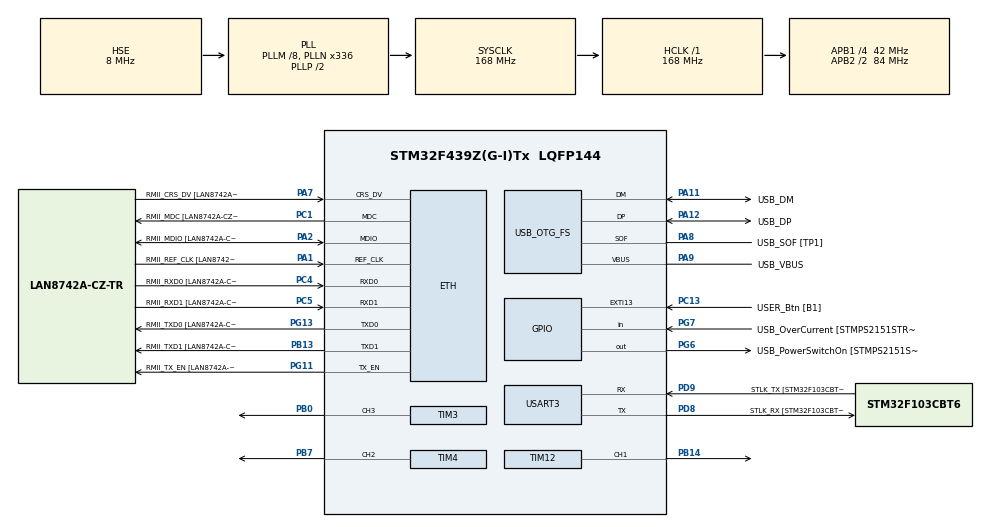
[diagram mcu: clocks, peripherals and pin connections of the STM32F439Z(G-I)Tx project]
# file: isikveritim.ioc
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Dma.Request0=USART3_RX
Dma.USART3_RX.0.Direction=DMA_PERIPH_TO_MEMORY
Dma.USART3_RX.0.FIFOMode=DMA_FIFOMODE_DISABLE
Dma.USART3_RX.0.Instance=DMA1_Stream1
Dma.USART3_RX.0.MemDataAlignment=DMA_MDATAALIGN_BYTE
Dma.USART3_RX.0.MemInc=DMA_MINC_ENABLE
Dma.USART3_RX.0.Mode=DMA_CIRCULAR
Dma.USART3_RX.0.PeriphDataAlignment=DMA_PDATAALIGN_BYTE
Dma.USART3_RX.0.PeriphInc=DMA_PINC_DISABLE
Dma.USART3_RX.0.Priority=DMA_PRIORITY_LOW
ETH.MediaInterface=HAL_ETH_RMII_MODE
ETH.PHY_Name=LAN8742A_PHY_ADDRESS
ETH.PHY_Value=0
ETH.PhyAddress=0
Mcu.Family=STM32F4
Mcu.Name=STM32F439Z(G-I)Tx
Mcu.Package=LQFP144
NVIC.DMA1_Stream1_IRQn=true\:0\:0\:false\:false\:true\:false\:true\:true
NVIC.PriorityGroup=NVIC_PRIORITYGROUP_4
NVIC.USART3_IRQn=true\:0\:0\:false\:false\:true\:true\:true\:true
PA1.GPIO_Label=RMII_REF_CLK [LAN8742A-CZ-TR_REFCLK0]
PA1.Mode=RMII
PA1.Signal=ETH_REF_CLK
PA10.GPIO_Label=USB_ID
PA10.Signal=USB_OTG_FS_ID
PA11.GPIO_Label=USB_DM
PA11.Mode=Device_Only
PA11.Signal=USB_OTG_FS_DM
PA12.GPIO_Label=USB_DP
PA12.Mode=Device_Only
PA12.Signal=USB_OTG_FS_DP
PA13.GPIO_Label=TMS
PA13.Mode=Serial_Wire
PA13.Signal=SYS_JTMS-SWDIO
PA14.GPIO_Label=TCK
PA14.Mode=Serial_Wire
PA14.Signal=SYS_JTCK-SWCLK
PA2.GPIO_Label=RMII_MDIO [LAN8742A-CZ-TR_MDIO]
PA2.Mode=RMII
PA2.Signal=ETH_MDIO
PA7.GPIO_Label=RMII_CRS_DV [LAN8742A-CZ-TR_CRS_DV]
PA7.Mode=RMII
PA7.Signal=ETH_CRS_DV
PA8.GPIO_Label=USB_SOF [TP1]
PA8.Mode=Activate_SOF_FS
PA8.Signal=USB_OTG_FS_SOF
PA9.GPIO_Label=USB_VBUS
PA9.Mode=Activate_VBUS
PA9.Signal=USB_OTG_FS_VBUS
PB0.Signal=S_TIM3_CH3
PB13.GPIO_Label=RMII_TXD1 [LAN8742A-CZ-TR_TXD1]
PB13.Mode=RMII
PB13.Signal=ETH_TXD1
PB14.Signal=S_TIM12_CH1
PB7.Signal=S_TIM4_CH2
PC1.GPIO_Label=RMII_MDC [LAN8742A-CZ-TR_MDC]
PC1.Mode=RMII
PC1.Signal=ETH_MDC
PC13.GPIO_Label=USER_Btn [B1]
PC13.Signal=GPXTI13
PC14/OSC32_IN.Mode=LSE-External-Oscillator
PC14/OSC32_IN.Signal=RCC_OSC32_IN
PC15/OSC32_OUT.Mode=LSE-External-Oscillator
PC15/OSC32_OUT.Signal=RCC_OSC32_OUT
PC4.GPIO_Label=RMII_RXD0 [LAN8742A-CZ-TR_RXD0]
PC4.Mode=RMII
PC4.Signal=ETH_RXD0
PC5.GPIO_Label=RMII_RXD1 [LAN8742A-CZ-TR_RXD1]
PC5.Mode=RMII
PC5.Signal=ETH_RXD1
PD8.GPIO_Label=STLK_RX [STM32F103CBT6_PA3]
PD8.Mode=Asynchronous
PD8.Signal=USART3_TX
PD9.GPIO_Label=STLK_TX [STM32F103CBT6_PA2]
PD9.Mode=Asynchronous
PD9.Signal=USART3_RX
PG11.GPIO_Label=RMII_TX_EN [LAN8742A-CZ-TR_TXEN]
PG11.Mode=RMII
PG11.Signal=ETH_TX_EN
PG13.GPIO_Label=RMII_TXD0 [LAN8742A-CZ-TR_TXD0]
PG13.Mode=RMII
PG13.Signal=ETH_TXD0
PG6.GPIO_Label=USB_PowerSwitchOn [STMPS2151STR_EN]
PG6.Signal=GPIO_Output
PG7.GPIO_Label=USB_OverCurrent [STMPS2151STR_FAULT]
PG7.Signal=GPIO_Input
PH0/OSC_IN.GPIO_Label=MCO [STM32F103CBT6_PA8]
PH0/OSC_IN.Mode=HSE-External-Clock-Source
PH0/OSC_IN.Signal=RCC_OSC_IN
PH1/OSC_OUT.Mode=HSE-External-Clock-Source
PH1/OSC_OUT.Signal=RCC_OSC_OUT
ProjectManager.HeapSize=0x200
ProjectManager.StackSize=0x400
ProjectManager.TargetToolchain=STM32CubeIDE
RCC.48MHZClocksFreq_Value=48000000
RCC.AHBFreq_Value=168000000
RCC.APB1CLKDivider=RCC_HCLK_DIV4
RCC.APB1Freq_Value=42000000
RCC.APB1TimFreq_Value=84000000
RCC.APB2CLKDivider=RCC_HCLK_DIV2
RCC.APB2Freq_Value=84000000
RCC.APB2TimFreq_Value=168000000
RCC.CortexFreq_Value=168000000
RCC.HCLKFreq_Value=168000000
RCC.HSE_VALUE=8000000
RCC.HSI_VALUE=16000000
RCC.PLLM=8
RCC.PLLMUL=RCC_PLL_MUL9
RCC.PLLN=336
RCC.PLLQ=7
RCC.PRESCALERUSB=RCC_USBCLKSOURCE_PLL_DIV1_5
RCC.SYSCLKFreq_VALUE=168000000
RCC.SYSCLKSource=RCC_SYSCLKSOURCE_PLLCLK
RCC.SYSCLKSourceVirtual=RCC_SYSCLKSOURCE_PLLCLK
RCC.USBFreq_Value=48000000
RCC.VCOOutputFreq_Value=336000000
SH.S_TIM12_CH1.0=TIM12_CH1,PWM Generation1 CH1
SH.S_TIM3_CH3.0=TIM3_CH3,PWM Generation3 CH3
SH.S_TIM4_CH2.0=TIM4_CH2,PWM Generation2 CH2
TIM12.Channel-PWM\ Generation1\ CH1=TIM_CHANNEL_1
TIM12.Period=999
TIM12.Prescaler=83
TIM3.Channel-PWM\ Generation3\ CH3=TIM_CHANNEL_3
TIM3.Period=999
TIM3.Prescaler=83
TIM4.Channel-PWM\ Generation2\ CH2=TIM_CHANNEL_2
TIM4.Period=999
TIM4.Prescaler=83
USART3.VirtualMode=VM_ASYNC
USB_OTG_FS.VirtualMode=Device_Only
board=NUCLEO-F439ZI

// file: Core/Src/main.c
/* USER CODE BEGIN Header */
/**
  ******************************************************************************
  * @file           : main.c
  * @brief          : Main program body
  ******************************************************************************
  * @attention
  *
  * Copyright (c) 2026 STMicroelectronics.
  * All rights reserved.
  *
  * This software is licensed under terms that can be found in the LICENSE file
  * in the root directory of this software component.
  * If no LICENSE file comes with this software, it is provided AS-IS.
  *
  ******************************************************************************
  */
/* USER CODE END Header */
#include "main.h"
#include "string.h"

ETH_TxPacketConfig TxConfig;
ETH_DMADescTypeDef  DMARxDscrTab[ETH_RX_DESC_CNT]; /* Ethernet Rx DMA Descriptors */
ETH_DMADescTypeDef  DMATxDscrTab[ETH_TX_DESC_CNT]; /* Ethernet Tx DMA Descriptors */

ETH_HandleTypeDef heth;

TIM_HandleTypeDef htim3;
TIM_HandleTypeDef htim4;
TIM_HandleTypeDef htim12;

UART_HandleTypeDef huart3;
DMA_HandleTypeDef hdma_usart3_rx;

PCD_HandleTypeDef hpcd_USB_OTG_FS;

/* USER CODE BEGIN PV */
uint8_t rx_data[1];
/* USER CODE END PV */

void SystemClock_Config(void);
static void MX_GPIO_Init(void);
static void MX_DMA_Init(void);
static void MX_ETH_Init(void);
static void MX_TIM3_Init(void);
static void MX_TIM4_Init(void);
static void MX_TIM12_Init(void);
static void MX_USART3_UART_Init(void);
static void MX_USB_OTG_FS_PCD_Init(void);

int main(void)
{

  /* MCU Configuration--------------------------------------------------------*/

  /* Reset of all peripherals, Initializes the Flash interface and the Systick. */
  HAL_Init();

  /* Configure the system clock */
  SystemClock_Config();

  /* Initialize all configured peripherals */
  MX_GPIO_Init();
  MX_DMA_Init();
  MX_ETH_Init();
  MX_TIM3_Init();
  MX_TIM4_Init();
  MX_TIM12_Init();
  MX_USART3_UART_Init();
  MX_USB_OTG_FS_PCD_Init();
  /* USER CODE BEGIN 2 */
HAL_TIM_PWM_Start(&htim3, TIM_CHANNEL_3);
HAL_TIM_PWM_Start(&htim4, TIM_CHANNEL_2);
HAL_TIM_PWM_Start(&htim12, TIM_CHANNEL_1);

HAL_UART_Receive_DMA(&huart3, rx_data, 1);
  /* USER CODE END 2 */

  /* Infinite loop */
  while (1)
  {

    /* USER CODE BEGIN 3 */
	  // Gelen veriye göre anlık patlama (Strobe) efektleri
	 	  if(rx_data[0] == '1')
	 	  {
	 		  __HAL_TIM_SET_COMPARE(&htim3,TIM_CHANNEL_3, 999); //Yeşil Patla
	 		  HAL_Delay(30);
	 		  __HAL_TIM_SET_COMPARE(&htim3,TIM_CHANNEL_3, 0); // Sön

	 		  rx_data[0]=0;
	 	  }
	 	  else if (rx_data[0] == '2' )
	 	  {

	 		  __HAL_TIM_SET_COMPARE(&htim4,TIM_CHANNEL_2, 999);
	 		  HAL_Delay(30);
	 		  __HAL_TIM_SET_COMPARE(&htim4,TIM_CHANNEL_2, 0);
	 		 rx_data[0]=0;
	 	  }
	 	  else if (rx_data[0] == '3')
	 	  	  {
	 	  		  __HAL_TIM_SET_COMPARE(&htim12, TIM_CHANNEL_1, 999); // Kırmızı Patla
	 	  		  HAL_Delay(30);
	 	  		  __HAL_TIM_SET_COMPARE(&htim12, TIM_CHANNEL_1, 0);
	 	  		  rx_data[0] = 0;
	 	  	  }
	 	  else if (rx_data[0] == '4')
	 	  	  {
	 	  		  // BASS DROP: Hepsini Patlat
	 	  		  __HAL_TIM_SET_COMPARE(&htim3, TIM_CHANNEL_3, 999);
	 	  		  __HAL_TIM_SET_COMPARE(&htim4, TIM_CHANNEL_2, 999);
	 	  		  __HAL_TIM_SET_COMPARE(&htim12, TIM_CHANNEL_1, 999);

	 	  		  HAL_Delay(40);

	 	  		  __HAL_TIM_SET_COMPARE(&htim3, TIM_CHANNEL_3, 0);
	 	  		  __HAL_TIM_SET_COMPARE(&htim4, TIM_CHANNEL_2, 0);
	 	  		  __HAL_TIM_SET_COMPARE(&htim12, TIM_CHANNEL_1, 0);

	 	  		  rx_data[0] = 0;
	 	  	  }
	 	  	  else
	 	  	  {
	 	  		  // Yeni komut gelene kadar tamamen karanlıkta bekle
	 	  		  __HAL_TIM_SET_COMPARE(&htim3, TIM_CHANNEL_3, 0);
	 	  		  __HAL_TIM_SET_COMPARE(&htim4, TIM_CHANNEL_2, 0);
	 	  		  __HAL_TIM_SET_COMPARE(&htim12, TIM_CHANNEL_1, 0);
	 	  	  }

}
  /* USER CODE END 3 */
}

void SystemClock_Config(void)
{
  RCC_OscInitTypeDef RCC_OscInitStruct = {0};
  RCC_ClkInitTypeDef RCC_ClkInitStruct = {0};

  /** Configure the main internal regulator output voltage
  */
  __HAL_RCC_PWR_CLK_ENABLE();
  __HAL_PWR_VOLTAGESCALING_CONFIG(PWR_REGULATOR_VOLTAGE_SCALE1);

  /** Initializes the RCC Oscillators according to the specified parameters
  * in the RCC_OscInitTypeDef structure.
  */
  RCC_OscInitStruct.OscillatorType = RCC_OSCILLATORTYPE_HSE;
  RCC_OscInitStruct.HSEState = RCC_HSE_BYPASS;
  RCC_OscInitStruct.PLL.PLLState = RCC_PLL_ON;
  RCC_OscInitStruct.PLL.PLLSource = RCC_PLLSOURCE_HSE;
  RCC_OscInitStruct.PLL.PLLM = 8;
  RCC_OscInitStruct.PLL.PLLN = 336;
  RCC_OscInitStruct.PLL.PLLP = RCC_PLLP_DIV2;
  RCC_OscInitStruct.PLL.PLLQ = 7;
  if (HAL_RCC_OscConfig(&RCC_OscInitStruct) != HAL_OK)
  {
    Error_Handler();
  }

  /** Initializes the CPU, AHB and APB buses clocks
  */
  RCC_ClkInitStruct.ClockType = RCC_CLOCKTYPE_HCLK|RCC_CLOCKTYPE_SYSCLK
                              |RCC_CLOCKTYPE_PCLK1|RCC_CLOCKTYPE_PCLK2;
  RCC_ClkInitStruct.SYSCLKSource = RCC_SYSCLKSOURCE_PLLCLK;
  RCC_ClkInitStruct.AHBCLKDivider = RCC_SYSCLK_DIV1;
  RCC_ClkInitStruct.APB1CLKDivider = RCC_HCLK_DIV4;
  RCC_ClkInitStruct.APB2CLKDivider = RCC_HCLK_DIV2;

  if (HAL_RCC_ClockConfig(&RCC_ClkInitStruct, FLASH_LATENCY_5) != HAL_OK)
  {
    Error_Handler();
  }
}

static void MX_ETH_Init(void)
{

   static uint8_t MACAddr[6];

  heth.Instance = ETH;
  MACAddr[0] = 0x00;
  MACAddr[1] = 0x80;
  MACAddr[2] = 0xE1;
  MACAddr[3] = 0x00;
  MACAddr[4] = 0x00;
  MACAddr[5] = 0x00;
  heth.Init.MACAddr = &MACAddr[0];
  heth.Init.MediaInterface = HAL_ETH_RMII_MODE;
  heth.Init.TxDesc = DMATxDscrTab;
  heth.Init.RxDesc = DMARxDscrTab;
  heth.Init.RxBuffLen = 1524;

  if (HAL_ETH_Init(&heth) != HAL_OK)
  {
    Error_Handler();
  }

  memset(&TxConfig, 0 , sizeof(ETH_TxPacketConfig));
  TxConfig.Attributes = ETH_TX_PACKETS_FEATURES_CSUM | ETH_TX_PACKETS_FEATURES_CRCPAD;
  TxConfig.ChecksumCtrl = ETH_CHECKSUM_IPHDR_PAYLOAD_INSERT_PHDR_CALC;
  TxConfig.CRCPadCtrl = ETH_CRC_PAD_INSERT;

}

static void MX_TIM3_Init(void)
{

  TIM_MasterConfigTypeDef sMasterConfig = {0};
  TIM_OC_InitTypeDef sConfigOC = {0};

  htim3.Instance = TIM3;
  htim3.Init.Prescaler = 83;
  htim3.Init.CounterMode = TIM_COUNTERMODE_UP;
  htim3.Init.Period = 999;
  htim3.Init.ClockDivision = TIM_CLOCKDIVISION_DIV1;
  htim3.Init.AutoReloadPreload = TIM_AUTORELOAD_PRELOAD_DISABLE;
  if (HAL_TIM_PWM_Init(&htim3) != HAL_OK)
  {
    Error_Handler();
  }
  sMasterConfig.MasterOutputTrigger = TIM_TRGO_RESET;
  sMasterConfig.MasterSlaveMode = TIM_MASTERSLAVEMODE_DISABLE;
  if (HAL_TIMEx_MasterConfigSynchronization(&htim3, &sMasterConfig) != HAL_OK)
  {
    Error_Handler();
  }
  sConfigOC.OCMode = TIM_OCMODE_PWM1;
  sConfigOC.Pulse = 0;
  sConfigOC.OCPolarity = TIM_OCPOLARITY_HIGH;
  sConfigOC.OCFastMode = TIM_OCFAST_DISABLE;
  if (HAL_TIM_PWM_ConfigChannel(&htim3, &sConfigOC, TIM_CHANNEL_3) != HAL_OK)
  {
    Error_Handler();
  }
  HAL_TIM_MspPostInit(&htim3);

}

static void MX_TIM4_Init(void)
{

  TIM_MasterConfigTypeDef sMasterConfig = {0};
  TIM_OC_InitTypeDef sConfigOC = {0};

  htim4.Instance = TIM4;
  htim4.Init.Prescaler = 83;
  htim4.Init.CounterMode = TIM_COUNTERMODE_UP;
  htim4.Init.Period = 999;
  htim4.Init.ClockDivision = TIM_CLOCKDIVISION_DIV1;
  htim4.Init.AutoReloadPreload = TIM_AUTORELOAD_PRELOAD_DISABLE;
  if (HAL_TIM_PWM_Init(&htim4) != HAL_OK)
  {
    Error_Handler();
  }
  sMasterConfig.MasterOutputTrigger = TIM_TRGO_RESET;
  sMasterConfig.MasterSlaveMode = TIM_MASTERSLAVEMODE_DISABLE;
  if (HAL_TIMEx_MasterConfigSynchronization(&htim4, &sMasterConfig) != HAL_OK)
  {
    Error_Handler();
  }
  sConfigOC.OCMode = TIM_OCMODE_PWM1;
  sConfigOC.Pulse = 0;
  sConfigOC.OCPolarity = TIM_OCPOLARITY_HIGH;
  sConfigOC.OCFastMode = TIM_OCFAST_DISABLE;
  if (HAL_TIM_PWM_ConfigChannel(&htim4, &sConfigOC, TIM_CHANNEL_2) != HAL_OK)
  {
    Error_Handler();
  }
  HAL_TIM_MspPostInit(&htim4);

}

static void MX_TIM12_Init(void)
{

  TIM_OC_InitTypeDef sConfigOC = {0};

  htim12.Instance = TIM12;
  htim12.Init.Prescaler = 83;
  htim12.Init.CounterMode = TIM_COUNTERMODE_UP;
  htim12.Init.Period = 999;
  htim12.Init.ClockDivision = TIM_CLOCKDIVISION_DIV1;
  htim12.Init.AutoReloadPreload = TIM_AUTORELOAD_PRELOAD_DISABLE;
  if (HAL_TIM_PWM_Init(&htim12) != HAL_OK)
  {
    Error_Handler();
  }
  sConfigOC.OCMode = TIM_OCMODE_PWM1;
  sConfigOC.Pulse = 0;
  sConfigOC.OCPolarity = TIM_OCPOLARITY_HIGH;
  sConfigOC.OCFastMode = TIM_OCFAST_DISABLE;
  if (HAL_TIM_PWM_ConfigChannel(&htim12, &sConfigOC, TIM_CHANNEL_1) != HAL_OK)
  {
    Error_Handler();
  }
  HAL_TIM_MspPostInit(&htim12);

}

static void MX_USART3_UART_Init(void)
{

  huart3.Instance = USART3;
  huart3.Init.BaudRate = 115200;
  huart3.Init.WordLength = UART_WORDLENGTH_8B;
  huart3.Init.StopBits = UART_STOPBITS_1;
  huart3.Init.Parity = UART_PARITY_NONE;
  huart3.Init.Mode = UART_MODE_TX_RX;
  huart3.Init.HwFlowCtl = UART_HWCONTROL_NONE;
  huart3.Init.OverSampling = UART_OVERSAMPLING_16;
  if (HAL_UART_Init(&huart3) != HAL_OK)
  {
    Error_Handler();
  }

}

static void MX_USB_OTG_FS_PCD_Init(void)
{

  hpcd_USB_OTG_FS.Instance = USB_OTG_FS;
  hpcd_USB_OTG_FS.Init.dev_endpoints = 4;
  hpcd_USB_OTG_FS.Init.speed = PCD_SPEED_FULL;
  hpcd_USB_OTG_FS.Init.dma_enable = DISABLE;
  hpcd_USB_OTG_FS.Init.phy_itface = PCD_PHY_EMBEDDED;
  hpcd_USB_OTG_FS.Init.Sof_enable = ENABLE;
  hpcd_USB_OTG_FS.Init.low_power_enable = DISABLE;
  hpcd_USB_OTG_FS.Init.lpm_enable = DISABLE;
  hpcd_USB_OTG_FS.Init.vbus_sensing_enable = ENABLE;
  hpcd_USB_OTG_FS.Init.use_dedicated_ep1 = DISABLE;
  if (HAL_PCD_Init(&hpcd_USB_OTG_FS) != HAL_OK)
  {
    Error_Handler();
  }

}

static void MX_DMA_Init(void)
{

  /* DMA controller clock enable */
  __HAL_RCC_DMA1_CLK_ENABLE();

  /* DMA interrupt init */
  /* DMA1_Stream1_IRQn interrupt configuration */
  HAL_NVIC_SetPriority(DMA1_Stream1_IRQn, 0, 0);
  HAL_NVIC_EnableIRQ(DMA1_Stream1_IRQn);

}

static void MX_GPIO_Init(void)
{
  GPIO_InitTypeDef GPIO_InitStruct = {0};

  /* GPIO Ports Clock Enable */
  __HAL_RCC_GPIOC_CLK_ENABLE();
  __HAL_RCC_GPIOH_CLK_ENABLE();
  __HAL_RCC_GPIOA_CLK_ENABLE();
  __HAL_RCC_GPIOB_CLK_ENABLE();
  __HAL_RCC_GPIOD_CLK_ENABLE();
  __HAL_RCC_GPIOG_CLK_ENABLE();

  /*Configure GPIO pin Output Level */
  HAL_GPIO_WritePin(USB_PowerSwitchOn_GPIO_Port, USB_PowerSwitchOn_Pin, GPIO_PIN_RESET);

  /*Configure GPIO pin : USER_Btn_Pin */
  GPIO_InitStruct.Pin = USER_Btn_Pin;
  GPIO_InitStruct.Mode = GPIO_MODE_IT_RISING;
  GPIO_InitStruct.Pull = GPIO_NOPULL;
  HAL_GPIO_Init(USER_Btn_GPIO_Port, &GPIO_InitStruct);

  /*Configure GPIO pin : USB_PowerSwitchOn_Pin */
  GPIO_InitStruct.Pin = USB_PowerSwitchOn_Pin;
  GPIO_InitStruct.Mode = GPIO_MODE_OUTPUT_PP;
  GPIO_InitStruct.Pull = GPIO_NOPULL;
  GPIO_InitStruct.Speed = GPIO_SPEED_FREQ_LOW;
  HAL_GPIO_Init(USB_PowerSwitchOn_GPIO_Port, &GPIO_InitStruct);

  /*Configure GPIO pin : USB_OverCurrent_Pin */
  GPIO_InitStruct.Pin = USB_OverCurrent_Pin;
  GPIO_InitStruct.Mode = GPIO_MODE_INPUT;
  GPIO_InitStruct.Pull = GPIO_NOPULL;
  HAL_GPIO_Init(USB_OverCurrent_GPIO_Port, &GPIO_InitStruct);

}

void Error_Handler(void)
{
  __disable_irq();
  while (1)
  {
  }
}
